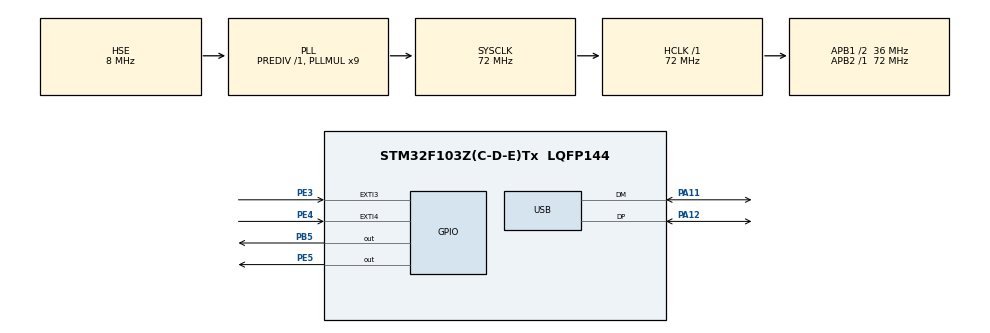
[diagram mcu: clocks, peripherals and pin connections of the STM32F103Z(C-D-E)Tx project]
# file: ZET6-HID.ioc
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Mcu.Family=STM32F1
Mcu.Name=STM32F103Z(C-D-E)Tx
Mcu.Package=LQFP144
NVIC.EXTI3_IRQn=true\:0\:0\:false\:false\:true\:true\:true\:true
NVIC.EXTI4_IRQn=true\:0\:0\:false\:false\:true\:true\:true\:true
NVIC.PriorityGroup=NVIC_PRIORITYGROUP_4
NVIC.USB_HP_CAN1_TX_IRQn=true\:0\:0\:false\:false\:true\:true\:true\:true
NVIC.USB_LP_CAN1_RX0_IRQn=true\:0\:0\:false\:false\:true\:true\:true\:true
OSC_IN.Mode=HSE-External-Oscillator
OSC_IN.Signal=RCC_OSC_IN
OSC_OUT.Mode=HSE-External-Oscillator
OSC_OUT.Signal=RCC_OSC_OUT
PA11.Mode=Device
PA11.Signal=USB_DM
PA12.Mode=Device
PA12.Signal=USB_DP
PA13.Mode=Serial_Wire
PA13.Signal=SYS_JTMS-SWDIO
PA14.Mode=Serial_Wire
PA14.Signal=SYS_JTCK-SWCLK
PB5.Signal=GPIO_Output
PE3.Signal=GPXTI3
PE4.Signal=GPXTI4
PE5.Signal=GPIO_Output
ProjectManager.HeapSize=0x200
ProjectManager.StackSize=0x400
ProjectManager.TargetToolchain=MDK-ARM V5.32
RCC.AHBFreq_Value=72000000
RCC.APB1CLKDivider=RCC_HCLK_DIV2
RCC.APB1Freq_Value=36000000
RCC.APB1TimFreq_Value=72000000
RCC.APB2Freq_Value=72000000
RCC.APB2TimFreq_Value=72000000
RCC.HCLKFreq_Value=72000000
RCC.PLLMUL=RCC_PLL_MUL9
RCC.SYSCLKFreq_VALUE=72000000
RCC.SYSCLKSource=RCC_SYSCLKSOURCE_PLLCLK
RCC.USBFreq_Value=48000000
RCC.USBPrescaler=RCC_USBCLKSOURCE_PLL_DIV1_5
USB_DEVICE.CLASS_NAME_FS=HID
USB_DEVICE.MANUFACTURER_STRING=MekLi-TJU
USB_DEVICE.VirtualMode=Hid
USB_DEVICE.VirtualModeFS=Hid_FS
VP_USB_DEVICE_VS_USB_DEVICE_HID_FS.Mode=HID_FS
board=custom

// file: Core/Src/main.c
/* USER CODE BEGIN Header */
/**
 ******************************************************************************
 * @file           : main.c
 * @brief          : Main program body
 ******************************************************************************
 * @attention
 *
 * Copyright (c) 2025 STMicroelectronics.
 * All rights reserved.
 *
 * This software is licensed under terms that can be found in the LICENSE file
 * in the root directory of this software component.
 * If no LICENSE file comes with this software, it is provided AS-IS.
 *
 ******************************************************************************
 */
/* USER CODE END Header */
#include "gpio.h"
#include "main.h"
#include "usb_device.h"
#include "usbd_hid.h"

/* USER CODE BEGIN PV */
extern USBD_HandleTypeDef hUsbDeviceFS;
uint8_t hidBuffer[17];
uint8_t mouseBuffer[8] = {0x00};
/* USER CODE END PV */

void SystemClock_Config(void);

/* USER CODE BEGIN 0 */

void keyboard(uint8_t modify, uint8_t keyValue) {
    memset(hidBuffer, 0, 9);
    hidBuffer[0] = 0x01; // 报文ID
    hidBuffer[1] = modify;
    hidBuffer[3] = keyValue;
    USBD_HID_SendReport(&hUsbDeviceFS, hidBuffer, 9);
    HAL_Delay(10); // 添加短延迟，让主机处理这个按键状态

    // 释放所有按键（发送 0 报文）
    memset(hidBuffer + 1, 0, 8);
    USBD_HID_SendReport(&hUsbDeviceFS, hidBuffer, 9);
    HAL_Delay(10);
}

/* USER CODE END 0 */

int main(void) {

    /* MCU Configuration--------------------------------------------------------*/

    /* Reset of all peripherals, Initializes the Flash interface and the Systick. */
    HAL_Init();

    /* Configure the system clock */
    SystemClock_Config();

    /* Initialize all configured peripherals */
    MX_GPIO_Init();
    MX_USB_DEVICE_Init();
    /* USER CODE BEGIN 2 */
	mouseBuffer[0] = 0x02;

    HAL_Delay(1000);
    // keyboard(0x08, 0x00); // Win + R
    HAL_Delay(10);
    keyboard(0x08, 0x15);
    HAL_Delay(500);
    keyboard(0x00, 0x11); // n
    HAL_Delay(10);
    keyboard(0x00, 0x12); // o
    HAL_Delay(10);
    keyboard(0x00, 0x17); // t
    HAL_Delay(10);
    keyboard(0x00, 0x08); // e
    HAL_Delay(10);
    keyboard(0x00, 0x13); // p
    HAL_Delay(10);
    keyboard(0x00, 0x04); // a
    HAL_Delay(10);
    keyboard(0x00, 0x07); // d
    HAL_Delay(10);
    keyboard(0x00, 0x28); // Enter
    HAL_Delay(10);
    keyboard(0x00, 0x28); // Enter
	HAL_Delay(10);
	mouseBuffer[2] = 0x7F;
	mouseBuffer[3] = 0x7F;
	USBD_HID_SendReport(&hUsbDeviceFS, mouseBuffer, 5);
	HAL_Delay(10);
	USBD_HID_SendReport(&hUsbDeviceFS, mouseBuffer, 5);
	HAL_Delay(1000);
	mouseBuffer[2] = 0 - mouseBuffer[2];
	mouseBuffer[3] = 0 - mouseBuffer[3];
	USBD_HID_SendReport(&hUsbDeviceFS, mouseBuffer, 5);

    HAL_Delay(5000);
    keyboard(0x04, 0x3D); // Alt + F4
    HAL_Delay(3000);
	mouseBuffer[2] = 0;
	mouseBuffer[3] = 0;
	USBD_HID_SendReport(&hUsbDeviceFS, mouseBuffer, 5);

    /* USER CODE END 2 */

    /* Infinite loop */
    while (1) {

    }
}

void SystemClock_Config(void) {
    RCC_OscInitTypeDef RCC_OscInitStruct   = {0};
    RCC_ClkInitTypeDef RCC_ClkInitStruct   = {0};
    RCC_PeriphCLKInitTypeDef PeriphClkInit = {0};

    /** Initializes the RCC Oscillators according to the specified parameters
     * in the RCC_OscInitTypeDef structure.
     */
    RCC_OscInitStruct.OscillatorType       = RCC_OSCILLATORTYPE_HSE;
    RCC_OscInitStruct.HSEState             = RCC_HSE_ON;
    RCC_OscInitStruct.HSEPredivValue       = RCC_HSE_PREDIV_DIV1;
    RCC_OscInitStruct.HSIState             = RCC_HSI_ON;
    RCC_OscInitStruct.PLL.PLLState         = RCC_PLL_ON;
    RCC_OscInitStruct.PLL.PLLSource        = RCC_PLLSOURCE_HSE;
    RCC_OscInitStruct.PLL.PLLMUL           = RCC_PLL_MUL9;
    if (HAL_RCC_OscConfig(&RCC_OscInitStruct) != HAL_OK) {
        Error_Handler();
    }

    /** Initializes the CPU, AHB and APB buses clocks
     */
    RCC_ClkInitStruct.ClockType = RCC_CLOCKTYPE_HCLK | RCC_CLOCKTYPE_SYSCLK | RCC_CLOCKTYPE_PCLK1 | RCC_CLOCKTYPE_PCLK2;
    RCC_ClkInitStruct.SYSCLKSource   = RCC_SYSCLKSOURCE_PLLCLK;
    RCC_ClkInitStruct.AHBCLKDivider  = RCC_SYSCLK_DIV1;
    RCC_ClkInitStruct.APB1CLKDivider = RCC_HCLK_DIV2;
    RCC_ClkInitStruct.APB2CLKDivider = RCC_HCLK_DIV1;

    if (HAL_RCC_ClockConfig(&RCC_ClkInitStruct, FLASH_LATENCY_2) != HAL_OK) {
        Error_Handler();
    }
    PeriphClkInit.PeriphClockSelection = RCC_PERIPHCLK_USB;
    PeriphClkInit.UsbClockSelection    = RCC_USBCLKSOURCE_PLL_DIV1_5;
    if (HAL_RCCEx_PeriphCLKConfig(&PeriphClkInit) != HAL_OK) {
        Error_Handler();
    }
}

void Error_Handler(void) {
    __disable_irq();
    while (1) {
    }
}
